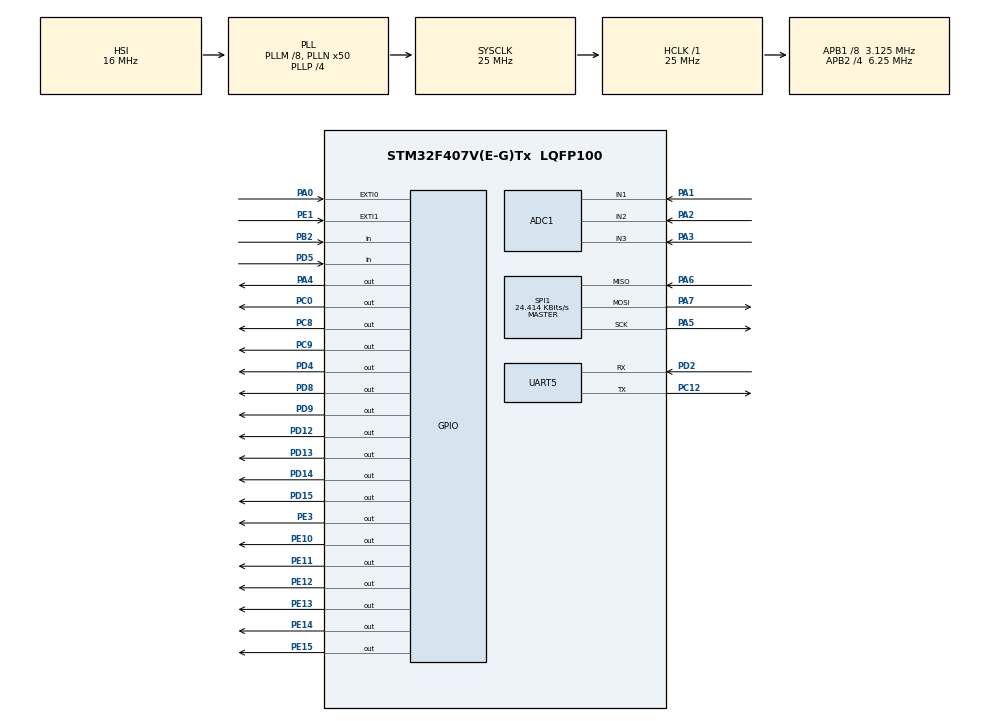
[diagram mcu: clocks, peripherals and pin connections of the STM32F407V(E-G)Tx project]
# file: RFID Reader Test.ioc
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ADC1.Channel-0\#ChannelRegularConversion=ADC_CHANNEL_1
ADC1.EOCSelection=ADC_EOC_SINGLE_CONV
ADC1.NbrOfConversion=1
ADC1.NbrOfConversionFlag=1
ADC1.Rank-0\#ChannelRegularConversion=1
ADC1.SamplingTime-0\#ChannelRegularConversion=ADC_SAMPLETIME_480CYCLES
ADC1.master=1
Mcu.Family=STM32F4
Mcu.Name=STM32F407V(E-G)Tx
Mcu.Package=LQFP100
NVIC.PriorityGroup=NVIC_PRIORITYGROUP_0
NVIC.TIM3_IRQn=true\:0\:0\:false\:false\:true\:true
PA0-WKUP.GPIO_ModeDefaultEXTI=GPIO_MODE_IT_RISING
PA0-WKUP.GPIO_PuPd=GPIO_NOPULL
PA0-WKUP.Signal=GPXTI0
PA1.Signal=ADCx_IN1
PA10.GPIO_Mode=GPIO_MODE_AF_PP
PA10.GPIO_PuPd=GPIO_NOPULL
PA10.GPIO_Speed=GPIO_SPEED_FREQ_VERY_HIGH
PA10.Signal=USB_OTG_FS_ID
PA11.GPIO_Mode=GPIO_MODE_AF_PP
PA11.GPIO_PuPd=GPIO_NOPULL
PA11.GPIO_Speed=GPIO_SPEED_FREQ_VERY_HIGH
PA11.Signal=USB_OTG_FS_DM
PA12.GPIO_Mode=GPIO_MODE_AF_PP
PA12.GPIO_PuPd=GPIO_NOPULL
PA12.GPIO_Speed=GPIO_SPEED_FREQ_VERY_HIGH
PA12.Signal=USB_OTG_FS_DP
PA13.Signal=SYS_JTMS-SWDIO
PA14.Signal=SYS_JTCK-SWCLK
PA2.Signal=ADCx_IN2
PA3.Signal=ADCx_IN3
PA4.GPIO_Speed=GPIO_SPEED_FREQ_HIGH
PA4.Signal=GPIO_Output
PA5.GPIO_Mode=GPIO_MODE_AF_PP
PA5.GPIO_PuPd=GPIO_NOPULL
PA5.GPIO_Speed=GPIO_SPEED_FREQ_HIGH
PA5.Mode=Full_Duplex_Master
PA5.Signal=SPI1_SCK
PA6.GPIO_Mode=GPIO_MODE_AF_PP
PA6.GPIO_PuPd=GPIO_NOPULL
PA6.GPIO_Speed=GPIO_SPEED_FREQ_HIGH
PA6.Mode=Full_Duplex_Master
PA6.Signal=SPI1_MISO
PA7.GPIO_Mode=GPIO_MODE_AF_PP
PA7.GPIO_PuPd=GPIO_NOPULL
PA7.GPIO_Speed=GPIO_SPEED_FREQ_HIGH
PA7.Mode=Full_Duplex_Master
PA7.Signal=SPI1_MOSI
PA9.GPIO_Mode=GPIO_MODE_INPUT
PA9.GPIO_PuPd=GPIO_NOPULL
PA9.Signal=USB_OTG_FS_VBUS
PB10.GPIO_Mode=GPIO_MODE_AF_PP
PB10.GPIO_PuPd=GPIO_NOPULL
PB10.GPIO_Speed=GPIO_SPEED_FREQ_LOW
PB10.Signal=I2S2_CK
PB2.GPIO_Mode=GPIO_MODE_INPUT
PB2.GPIO_PuPd=GPIO_NOPULL
PB2.Signal=GPIO_Input
PB3.Signal=SYS_JTDO-SWO
PC0.GPIO_ModeDefaultOutputPP=GPIO_MODE_OUTPUT_PP
PC0.GPIO_PuPd=GPIO_NOPULL
PC0.GPIO_Speed=GPIO_SPEED_FREQ_LOW
PC0.PinState=GPIO_PIN_RESET
PC0.Signal=GPIO_Output
PC10.GPIO_Mode=GPIO_MODE_AF_PP
PC10.GPIO_PuPd=GPIO_NOPULL
PC10.GPIO_Speed=GPIO_SPEED_FREQ_LOW
PC10.Signal=I2S3_CK
PC12.Mode=Asynchronous
PC12.Signal=UART5_TX
PC14-OSC32_IN.Signal=RCC_OSC32_IN
PC15-OSC32_OUT.Signal=RCC_OSC32_OUT
PC3.GPIO_Mode=GPIO_MODE_AF_PP
PC3.GPIO_PuPd=GPIO_NOPULL
PC3.GPIO_Speed=GPIO_SPEED_FREQ_LOW
PC3.Signal=I2S2_SD
PC7.GPIO_Mode=GPIO_MODE_AF_PP
PC7.GPIO_PuPd=GPIO_NOPULL
PC7.GPIO_Speed=GPIO_SPEED_FREQ_LOW
PC7.Signal=I2S3_MCK
PC8.GPIO_Speed=GPIO_SPEED_FREQ_VERY_HIGH
PC8.Signal=GPIO_Output
PC9.GPIO_Speed=GPIO_SPEED_FREQ_VERY_HIGH
PC9.Signal=GPIO_Output
PD12.Signal=GPIO_Output
PD13.GPIO_ModeDefaultOutputPP=GPIO_MODE_OUTPUT_PP
PD13.GPIO_PuPd=GPIO_NOPULL
PD13.GPIO_Speed=GPIO_SPEED_FREQ_LOW
PD13.PinState=GPIO_PIN_RESET
PD13.Signal=GPIO_Output
PD14.GPIO_ModeDefaultOutputPP=GPIO_MODE_OUTPUT_PP
PD14.GPIO_PuPd=GPIO_NOPULL
PD14.GPIO_Speed=GPIO_SPEED_FREQ_LOW
PD14.PinState=GPIO_PIN_RESET
PD14.Signal=GPIO_Output
PD15.GPIO_ModeDefaultOutputPP=GPIO_MODE_OUTPUT_PP
PD15.GPIO_PuPd=GPIO_NOPULL
PD15.GPIO_Speed=GPIO_SPEED_FREQ_LOW
PD15.PinState=GPIO_PIN_RESET
PD15.Signal=GPIO_Output
PD2.Mode=Asynchronous
PD2.Signal=UART5_RX
PD4.GPIO_ModeDefaultOutputPP=GPIO_MODE_OUTPUT_PP
PD4.GPIO_PuPd=GPIO_NOPULL
PD4.GPIO_Speed=GPIO_SPEED_FREQ_LOW
PD4.PinState=GPIO_PIN_RESET
PD4.Signal=GPIO_Output
PD5.GPIO_Mode=GPIO_MODE_INPUT
PD5.GPIO_PuPd=GPIO_NOPULL
PD5.Signal=GPIO_Input
PD8.Signal=GPIO_Output
PD9.Signal=GPIO_Output
PE1.GPIO_ModeDefaultEXTI=GPIO_MODE_IT_RISING
PE1.GPIO_PuPd=GPIO_NOPULL
PE1.Signal=GPXTI1
PE10.Signal=GPIO_Output
PE11.Signal=GPIO_Output
PE12.Signal=GPIO_Output
PE13.Signal=GPIO_Output
PE14.Signal=GPIO_Output
PE15.Signal=GPIO_Output
PE3.GPIO_ModeDefaultOutputPP=GPIO_MODE_OUTPUT_PP
PE3.GPIO_PuPd=GPIO_NOPULL
PE3.GPIO_Speed=GPIO_SPEED_FREQ_LOW
PE3.PinState=GPIO_PIN_RESET
PE3.Signal=GPIO_Output
PH0-OSC_IN.Signal=RCC_OSC_IN
PH1-OSC_OUT.Signal=RCC_OSC_OUT
ProjectManager.HeapSize=0x200
ProjectManager.StackSize=0x400
ProjectManager.TargetToolchain=TrueSTUDIO
RCC.48MHZClocksFreq_Value=14285714.285714285
RCC.AHBFreq_Value=25000000
RCC.APB1CLKDivider=RCC_HCLK_DIV8
RCC.APB1Freq_Value=3125000
RCC.APB1TimFreq_Value=6250000
RCC.APB2CLKDivider=RCC_HCLK_DIV4
RCC.APB2Freq_Value=6250000
RCC.APB2TimFreq_Value=12500000
RCC.CortexFreq_Value=25000000
RCC.HCLKFreq_Value=25000000
RCC.HSE_VALUE=8000000
RCC.HSI_VALUE=16000000
RCC.LSE_VALUE=32768
RCC.PLLM=8
RCC.PLLN=50
RCC.PLLP=RCC_PLLP_DIV4
RCC.PLLQ=7
RCC.SYSCLKFreq_VALUE=25000000
RCC.SYSCLKSource=RCC_SYSCLKSOURCE_PLLCLK
RCC.VCOOutputFreq_Value=100000000
SH.ADCx_IN1.0=ADC1_IN1,IN1
SH.ADCx_IN2.0=ADC1_IN2,IN2
SH.ADCx_IN3.0=ADC1_IN3,IN3
SPI1.BaudRatePrescaler=SPI_BAUDRATEPRESCALER_256
SPI1.CLKPhase=SPI_PHASE_1EDGE
SPI1.CLKPolarity=SPI_POLARITY_LOW
SPI1.CalculateBaudRate=24.414 KBits/s
SPI1.DataSize=SPI_DATASIZE_8BIT
SPI1.Direction=SPI_DIRECTION_2LINES
SPI1.Mode=SPI_MODE_MASTER
SPI1.VirtualType=VM_MASTER
TIM3.Period=10-1
TIM3.Prescaler=625-1
UART5.VirtualMode=Asynchronous
VP_TIM3_VS_ClockSourceINT.Mode=Internal
board=STM32F4DISCOVERY

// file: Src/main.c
/* USER CODE BEGIN Header */
/**
  ******************************************************************************
  * @file           : main.c
  * @brief          : Main program body
  ******************************************************************************
  ** This notice applies to any and all portions of this file
  * that are not between comment pairs USER CODE BEGIN and
  * USER CODE END. Other portions of this file, whether
  * inserted by the user or by software development tools
  * are owned by their respective copyright owners.
  *
  * COPYRIGHT(c) 2020 STMicroelectronics
  *
  * Redistribution and use in source and binary forms, with or without modification,
  * are permitted provided that the following conditions are met:
  *   1. Redistributions of source code must retain the above copyright notice,
  *      this list of conditions and the following disclaimer.
  *   2. Redistributions in binary form must reproduce the above copyright notice,
  *      this list of conditions and the following disclaimer in the documentation
  *      and/or other materials provided with the distribution.
  *   3. Neither the name of STMicroelectronics nor the names of its contributors
  *      may be used to endorse or promote products derived from this software
  *      without specific prior written permission.
  *
  * THIS SOFTWARE IS PROVIDED BY THE COPYRIGHT HOLDERS AND CONTRIBUTORS "AS IS"
  * AND ANY EXPRESS OR IMPLIED WARRANTIES, INCLUDING, BUT NOT LIMITED TO, THE
  * IMPLIED WARRANTIES OF MERCHANTABILITY AND FITNESS FOR A PARTICULAR PURPOSE ARE
  * DISCLAIMED. IN NO EVENT SHALL THE COPYRIGHT HOLDER OR CONTRIBUTORS BE LIABLE
  * FOR ANY DIRECT, INDIRECT, INCIDENTAL, SPECIAL, EXEMPLARY, OR CONSEQUENTIAL
  * DAMAGES (INCLUDING, BUT NOT LIMITED TO, PROCUREMENT OF SUBSTITUTE GOODS OR
  * SERVICES; LOSS OF USE, DATA, OR PROFITS; OR BUSINESS INTERRUPTION) HOWEVER
  * CAUSED AND ON ANY THEORY OF LIABILITY, WHETHER IN CONTRACT, STRICT LIABILITY,
  * OR TORT (INCLUDING NEGLIGENCE OR OTHERWISE) ARISING IN ANY WAY OUT OF THE USE
  * OF THIS SOFTWARE, EVEN IF ADVISED OF THE POSSIBILITY OF SUCH DAMAGE.
  *
  ******************************************************************************
  */
/* USER CODE END Header */

#include "main.h"

/* USER CODE BEGIN Includes */
#include "mfrc522.h"
#include "cfah2004.h"
/* USER CODE END Includes */

/* USER CODE BEGIN PD */
#define LED_GREEN	0x0
#define LED_RED 	0x1
#define LED_BLUE 	0x2
#define LED_ORANGE 	0x3
/* USER CODE END PD */

/* USER CODE BEGIN PM */
#define CLR_RS HAL_GPIO_WritePin(GPIOC, GPIO_PIN_8, GPIO_PIN_RESET);
#define SET_RS HAL_GPIO_WritePin(GPIOC, GPIO_PIN_8, GPIO_PIN_SET);
#define CLR_CS HAL_GPIO_WritePin(GPIOC, GPIO_PIN_9, GPIO_PIN_RESET);
#define SET_CS HAL_GPIO_WritePin(GPIOC, GPIO_PIN_9, GPIO_PIN_SET);
/* USER CODE END PM */

ADC_HandleTypeDef hadc1;

SPI_HandleTypeDef hspi1;

TIM_HandleTypeDef htim3;

UART_HandleTypeDef huart5;

void SystemClock_Config(void);
static void MX_GPIO_Init(void);
static void MX_SPI1_Init(void);
static void MX_TIM3_Init(void);
static void MX_ADC1_Init(void);
static void MX_UART5_Init(void);
/* USER CODE BEGIN PFP */
void LED_On(uint8_t);
void LED_Off(uint8_t);
void LED_Toggle(uint8_t);
/* USER CODE END PFP */

/* USER CODE BEGIN 0 */
uint8_t read_val = 0;
HAL_SPI_StateTypeDef curr_state;
uint8_t CardID[5];
int count = 0;
uint8_t flag = 0;
uint8_t prevflag = 1;
uint8_t MSG1[20] = "                    ";
uint8_t no_card[20] = " no card found yet. ";
uint8_t yes_card[20] = " id is 0x0000000000 ";
uint8_t no_board[20] = " this board invalid ";
uint8_t yes_board[20] = "  this board valid  ";
uint8_t board[83] = "00000000000000000000000000000000000000same00000000000000000000000000000000000000000";
int adc_val1 = 0;
int adc_val2 = 0;
int adc_val3 = 0;
char str[20];
char in[3];
uint8_t array[9] = {0};

void flip_switch(uint8_t num){
	reset_array();
	if(num == 1){

		HAL_GPIO_WritePin(GPIOD, GPIO_PIN_8, GPIO_PIN_RESET);
	}
	else if(num == 2){
		HAL_GPIO_WritePin(GPIOE, GPIO_PIN_10, GPIO_PIN_SET);
		HAL_GPIO_WritePin(GPIOD, GPIO_PIN_8, GPIO_PIN_RESET);
	}
	else if(num == 3){
		HAL_GPIO_WritePin(GPIOD, GPIO_PIN_9, GPIO_PIN_RESET);

	}
}

void reset_array(void){
	//selection pins
	HAL_GPIO_WritePin(GPIOE, GPIO_PIN_10, GPIO_PIN_RESET);
	HAL_GPIO_WritePin(GPIOE, GPIO_PIN_11, GPIO_PIN_RESET);
	HAL_GPIO_WritePin(GPIOE, GPIO_PIN_12, GPIO_PIN_RESET);
	HAL_GPIO_WritePin(GPIOE, GPIO_PIN_13, GPIO_PIN_RESET);
	HAL_GPIO_WritePin(GPIOE, GPIO_PIN_14, GPIO_PIN_RESET);
	HAL_GPIO_WritePin(GPIOE, GPIO_PIN_15, GPIO_PIN_RESET);
	//enable pins (active low)
	HAL_GPIO_WritePin(GPIOD, GPIO_PIN_8, GPIO_PIN_SET);
	HAL_GPIO_WritePin(GPIOD, GPIO_PIN_9, GPIO_PIN_SET);
}
/* USER CODE END 0 */

int main(void)
{

  /* MCU Configuration--------------------------------------------------------*/

  /* Reset of all peripherals, Initializes the Flash interface and the Systick. */
  HAL_Init();

  /* Configure the system clock */
  SystemClock_Config();

  /* Initialize all configured peripherals */
  MX_GPIO_Init();
  MX_SPI1_Init();
  MX_TIM3_Init();
  MX_ADC1_Init();
  MX_UART5_Init();
  /* USER CODE BEGIN 2 */
  nss_inactive();
  CLR_RS;
  SET_CS;

  MFRC522_Init();
  Initialize_CFAH2004AP();
  Initialize_CGRAM();

  writeCommand(0x1);

  reset_array();
  /* USER CODE END 2 */

  /* Infinite loop */
  while (1)
  {

    /* USER CODE BEGIN 3 */

	  //Code
	  //for
	  //flipping
	  //the
	  //switches

	  flip_switch(1);
	  HAL_Delay(500);
	  HAL_ADC_Start(&hadc1);
	  if(HAL_ADC_PollForConversion(&hadc1, 1000000) == HAL_OK){
		  adc_val1 = HAL_ADC_GetValue(&hadc1);
		  if(adc_val1 > 2000){
			  array[0] = 0;
		  }
		  else{
			  array[0] = 1;
		  }
	  }
	  HAL_ADC_Stop(&hadc1);

	  flip_switch(2);
	  HAL_Delay(500);
	  HAL_ADC_Start(&hadc1);
	  if(HAL_ADC_PollForConversion(&hadc1, 1000000) == HAL_OK){
		  adc_val2  = HAL_ADC_GetValue(&hadc1);
		  if(adc_val2 > 2000){
			  array[1] = 0;
		  }
		  else{
			  array[1] = 1;
		  }
	  }
	  HAL_ADC_Stop(&hadc1);

	  flip_switch(3);
	  HAL_Delay(500);
	  HAL_ADC_Start(&hadc1);
	  if(HAL_ADC_PollForConversion(&hadc1, 1000000) == HAL_OK){
		  adc_val3 = HAL_ADC_GetValue(&hadc1);
		  if(adc_val3 > 2000){
			  array[2] = 0;
		  }
		  else{
			  array[2] = 1;
		  }
	  }
	  HAL_ADC_Stop(&hadc1);

	  sprintf(str, "       %d %d %d    %d", array[0], array[1], array[2], adc_val1);
	  writeCommand(0x1);
	  HAL_Delay(1);
	  writeString(20, str);

	  sprintf(str, "       %d %d %d    %d", array[3], array[4], array[5], adc_val2);
	  writeCommand(LINE_TWO);
	  writeString(20, str);

	  sprintf(str, "       %d %d %d    %d", array[3], array[4], array[5], adc_val3);
	  writeCommand(LINE_THREE);
	  writeString(20, str);

	  //code
	  //for
	  //testing
	  //ESP
/*
	  writeCommand(0x1);
	  HAL_Delay(1);
	  HAL_UART_Transmit(&huart5, board, 83, 1000);
	  HAL_Delay(100);
	  HAL_UART_Receive(&huart5, (uint8_t *)in, 3, 1000);
	  if(in[0] == '1'){
		  writeString(20, yes_board);
	  }
	  else if(in[0] == '0'){
		  writeString(20, no_board);
	  }
	  else{
		  MSG1[10] = in[0];
		  writeString(20, MSG1);
	  }
	  MSG1[10] = in[0];
	  writeString(20, MSG1);
	  HAL_Delay(10000);
*/

	  //Code
	  //For
	  //Testing
	  //RFID Reader
	  /*
	  MFRC522_Status_t status = MFRC522_Check(CardID);
	  if(status == MI_OK){
		  LED_Off(LED_RED);
		  LED_On(LED_GREEN);
		  flag = 1;
		  hex_to_char_id(CardID, (yes_card + 9));
	  }
	  else{
		  LED_Off(LED_GREEN);
		  LED_On(LED_RED);
		  flag = 0;
	  }
	  LED_On(LED_BLUE);

	  if(!flag){
		  writeCommand(0x1);
		  HAL_Delay(1);
		  writeString(20, MSG1);
		  writeCommand(LINE_TWO);
		  writeString(20, no_card);
	  }
	  else{
		  writeCommand(0x1);
		  HAL_Delay(1);
		  writeString(20, MSG1);
		  writeCommand(LINE_TWO);
		  writeString(20, yes_card);
	  }
	  */

  }
  /* USER CODE END 3 */
}

void SystemClock_Config(void)
{
  RCC_OscInitTypeDef RCC_OscInitStruct = {0};
  RCC_ClkInitTypeDef RCC_ClkInitStruct = {0};

  /**Configure the main internal regulator output voltage
  */
  __HAL_RCC_PWR_CLK_ENABLE();
  __HAL_PWR_VOLTAGESCALING_CONFIG(PWR_REGULATOR_VOLTAGE_SCALE1);
  /**Initializes the CPU, AHB and APB busses clocks
  */
  RCC_OscInitStruct.OscillatorType = RCC_OSCILLATORTYPE_HSI;
  RCC_OscInitStruct.HSIState = RCC_HSI_ON;
  RCC_OscInitStruct.HSICalibrationValue = RCC_HSICALIBRATION_DEFAULT;
  RCC_OscInitStruct.PLL.PLLState = RCC_PLL_ON;
  RCC_OscInitStruct.PLL.PLLSource = RCC_PLLSOURCE_HSI;
  RCC_OscInitStruct.PLL.PLLM = 8;
  RCC_OscInitStruct.PLL.PLLN = 50;
  RCC_OscInitStruct.PLL.PLLP = RCC_PLLP_DIV4;
  RCC_OscInitStruct.PLL.PLLQ = 7;
  if (HAL_RCC_OscConfig(&RCC_OscInitStruct) != HAL_OK)
  {
    Error_Handler();
  }
  /**Initializes the CPU, AHB and APB busses clocks
  */
  RCC_ClkInitStruct.ClockType = RCC_CLOCKTYPE_HCLK|RCC_CLOCKTYPE_SYSCLK
                              |RCC_CLOCKTYPE_PCLK1|RCC_CLOCKTYPE_PCLK2;
  RCC_ClkInitStruct.SYSCLKSource = RCC_SYSCLKSOURCE_PLLCLK;
  RCC_ClkInitStruct.AHBCLKDivider = RCC_SYSCLK_DIV1;
  RCC_ClkInitStruct.APB1CLKDivider = RCC_HCLK_DIV8;
  RCC_ClkInitStruct.APB2CLKDivider = RCC_HCLK_DIV4;

  if (HAL_RCC_ClockConfig(&RCC_ClkInitStruct, FLASH_LATENCY_0) != HAL_OK)
  {
    Error_Handler();
  }
}

static void MX_ADC1_Init(void)
{

  ADC_ChannelConfTypeDef sConfig = {0};

  /**Configure the global features of the ADC (Clock, Resolution, Data Alignment and number of conversion)
  */
  hadc1.Instance = ADC1;
  hadc1.Init.ClockPrescaler = ADC_CLOCK_SYNC_PCLK_DIV2;
  hadc1.Init.Resolution = ADC_RESOLUTION_12B;
  hadc1.Init.ScanConvMode = DISABLE;
  hadc1.Init.ContinuousConvMode = DISABLE;
  hadc1.Init.DiscontinuousConvMode = DISABLE;
  hadc1.Init.ExternalTrigConvEdge = ADC_EXTERNALTRIGCONVEDGE_NONE;
  hadc1.Init.ExternalTrigConv = ADC_SOFTWARE_START;
  hadc1.Init.DataAlign = ADC_DATAALIGN_RIGHT;
  hadc1.Init.NbrOfConversion = 1;
  hadc1.Init.DMAContinuousRequests = DISABLE;
  hadc1.Init.EOCSelection = ADC_EOC_SINGLE_CONV;
  if (HAL_ADC_Init(&hadc1) != HAL_OK)
  {
    Error_Handler();
  }
  /**Configure for the selected ADC regular channel its corresponding rank in the sequencer and its sample time.
  */
  sConfig.Channel = ADC_CHANNEL_1;
  sConfig.Rank = 1;
  sConfig.SamplingTime = ADC_SAMPLETIME_480CYCLES;
  if (HAL_ADC_ConfigChannel(&hadc1, &sConfig) != HAL_OK)
  {
    Error_Handler();
  }

}

static void MX_SPI1_Init(void)
{

  /* SPI1 parameter configuration*/
  hspi1.Instance = SPI1;
  hspi1.Init.Mode = SPI_MODE_MASTER;
  hspi1.Init.Direction = SPI_DIRECTION_2LINES;
  hspi1.Init.DataSize = SPI_DATASIZE_8BIT;
  hspi1.Init.CLKPolarity = SPI_POLARITY_LOW;
  hspi1.Init.CLKPhase = SPI_PHASE_1EDGE;
  hspi1.Init.NSS = SPI_NSS_SOFT;
  hspi1.Init.BaudRatePrescaler = SPI_BAUDRATEPRESCALER_256;
  hspi1.Init.FirstBit = SPI_FIRSTBIT_MSB;
  hspi1.Init.TIMode = SPI_TIMODE_DISABLE;
  hspi1.Init.CRCCalculation = SPI_CRCCALCULATION_DISABLE;
  hspi1.Init.CRCPolynomial = 10;
  if (HAL_SPI_Init(&hspi1) != HAL_OK)
  {
    Error_Handler();
  }

}

static void MX_TIM3_Init(void)
{

  TIM_ClockConfigTypeDef sClockSourceConfig = {0};
  TIM_MasterConfigTypeDef sMasterConfig = {0};

  htim3.Instance = TIM3;
  htim3.Init.Prescaler = 625-1;
  htim3.Init.CounterMode = TIM_COUNTERMODE_UP;
  htim3.Init.Period = 10-1;
  htim3.Init.ClockDivision = TIM_CLOCKDIVISION_DIV1;
  if (HAL_TIM_Base_Init(&htim3) != HAL_OK)
  {
    Error_Handler();
  }
  sClockSourceConfig.ClockSource = TIM_CLOCKSOURCE_INTERNAL;
  if (HAL_TIM_ConfigClockSource(&htim3, &sClockSourceConfig) != HAL_OK)
  {
    Error_Handler();
  }
  sMasterConfig.MasterOutputTrigger = TIM_TRGO_RESET;
  sMasterConfig.MasterSlaveMode = TIM_MASTERSLAVEMODE_DISABLE;
  if (HAL_TIMEx_MasterConfigSynchronization(&htim3, &sMasterConfig) != HAL_OK)
  {
    Error_Handler();
  }

}

static void MX_UART5_Init(void)
{

  huart5.Instance = UART5;
  huart5.Init.BaudRate = 115200;
  huart5.Init.WordLength = UART_WORDLENGTH_8B;
  huart5.Init.StopBits = UART_STOPBITS_1;
  huart5.Init.Parity = UART_PARITY_NONE;
  huart5.Init.Mode = UART_MODE_TX_RX;
  huart5.Init.HwFlowCtl = UART_HWCONTROL_NONE;
  huart5.Init.OverSampling = UART_OVERSAMPLING_16;
  if (HAL_UART_Init(&huart5) != HAL_OK)
  {
    Error_Handler();
  }

}

static void MX_GPIO_Init(void)
{
  GPIO_InitTypeDef GPIO_InitStruct = {0};

  /* GPIO Ports Clock Enable */
  __HAL_RCC_GPIOE_CLK_ENABLE();
  __HAL_RCC_GPIOC_CLK_ENABLE();
  __HAL_RCC_GPIOH_CLK_ENABLE();
  __HAL_RCC_GPIOA_CLK_ENABLE();
  __HAL_RCC_GPIOB_CLK_ENABLE();
  __HAL_RCC_GPIOD_CLK_ENABLE();

  /*Configure GPIO pin Output Level */
  HAL_GPIO_WritePin(GPIOE, GPIO_PIN_3|GPIO_PIN_10|GPIO_PIN_11|GPIO_PIN_12
                          |GPIO_PIN_13|GPIO_PIN_14|GPIO_PIN_15, GPIO_PIN_RESET);

  /*Configure GPIO pin Output Level */
  HAL_GPIO_WritePin(GPIOC, GPIO_PIN_0|GPIO_PIN_8|GPIO_PIN_9, GPIO_PIN_RESET);

  /*Configure GPIO pin Output Level */
  HAL_GPIO_WritePin(GPIOA, GPIO_PIN_4, GPIO_PIN_RESET);

  /*Configure GPIO pin Output Level */
  HAL_GPIO_WritePin(GPIOD, GPIO_PIN_8|GPIO_PIN_9|GPIO_PIN_12|GPIO_PIN_13
                          |GPIO_PIN_14|GPIO_PIN_15|GPIO_PIN_4, GPIO_PIN_RESET);

  /*Configure GPIO pins : PE3 PE10 PE11 PE12
                           PE13 PE14 PE15 */
  GPIO_InitStruct.Pin = GPIO_PIN_3|GPIO_PIN_10|GPIO_PIN_11|GPIO_PIN_12
                          |GPIO_PIN_13|GPIO_PIN_14|GPIO_PIN_15;
  GPIO_InitStruct.Mode = GPIO_MODE_OUTPUT_PP;
  GPIO_InitStruct.Pull = GPIO_NOPULL;
  GPIO_InitStruct.Speed = GPIO_SPEED_FREQ_LOW;
  HAL_GPIO_Init(GPIOE, &GPIO_InitStruct);

  /*Configure GPIO pin : PC0 */
  GPIO_InitStruct.Pin = GPIO_PIN_0;
  GPIO_InitStruct.Mode = GPIO_MODE_OUTPUT_PP;
  GPIO_InitStruct.Pull = GPIO_NOPULL;
  GPIO_InitStruct.Speed = GPIO_SPEED_FREQ_LOW;
  HAL_GPIO_Init(GPIOC, &GPIO_InitStruct);

  /*Configure GPIO pin : PC3 */
  GPIO_InitStruct.Pin = GPIO_PIN_3;
  GPIO_InitStruct.Mode = GPIO_MODE_AF_PP;
  GPIO_InitStruct.Pull = GPIO_NOPULL;
  GPIO_InitStruct.Speed = GPIO_SPEED_FREQ_LOW;
  GPIO_InitStruct.Alternate = GPIO_AF5_SPI2;
  HAL_GPIO_Init(GPIOC, &GPIO_InitStruct);

  /*Configure GPIO pin : PA0 */
  GPIO_InitStruct.Pin = GPIO_PIN_0;
  GPIO_InitStruct.Mode = GPIO_MODE_IT_RISING;
  GPIO_InitStruct.Pull = GPIO_NOPULL;
  HAL_GPIO_Init(GPIOA, &GPIO_InitStruct);

  /*Configure GPIO pin : PA4 */
  GPIO_InitStruct.Pin = GPIO_PIN_4;
  GPIO_InitStruct.Mode = GPIO_MODE_OUTPUT_PP;
  GPIO_InitStruct.Pull = GPIO_NOPULL;
  GPIO_InitStruct.Speed = GPIO_SPEED_FREQ_HIGH;
  HAL_GPIO_Init(GPIOA, &GPIO_InitStruct);

  /*Configure GPIO pin : PB2 */
  GPIO_InitStruct.Pin = GPIO_PIN_2;
  GPIO_InitStruct.Mode = GPIO_MODE_INPUT;
  GPIO_InitStruct.Pull = GPIO_NOPULL;
  HAL_GPIO_Init(GPIOB, &GPIO_InitStruct);

  /*Configure GPIO pin : PB10 */
  GPIO_InitStruct.Pin = GPIO_PIN_10;
  GPIO_InitStruct.Mode = GPIO_MODE_AF_PP;
  GPIO_InitStruct.Pull = GPIO_NOPULL;
  GPIO_InitStruct.Speed = GPIO_SPEED_FREQ_LOW;
  GPIO_InitStruct.Alternate = GPIO_AF5_SPI2;
  HAL_GPIO_Init(GPIOB, &GPIO_InitStruct);

  /*Configure GPIO pins : PD8 PD9 PD12 PD13
                           PD14 PD15 PD4 */
  GPIO_InitStruct.Pin = GPIO_PIN_8|GPIO_PIN_9|GPIO_PIN_12|GPIO_PIN_13
                          |GPIO_PIN_14|GPIO_PIN_15|GPIO_PIN_4;
  GPIO_InitStruct.Mode = GPIO_MODE_OUTPUT_PP;
  GPIO_InitStruct.Pull = GPIO_NOPULL;
  GPIO_InitStruct.Speed = GPIO_SPEED_FREQ_LOW;
  HAL_GPIO_Init(GPIOD, &GPIO_InitStruct);

  /*Configure GPIO pins : PC7 PC10 */
  GPIO_InitStruct.Pin = GPIO_PIN_7|GPIO_PIN_10;
  GPIO_InitStruct.Mode = GPIO_MODE_AF_PP;
  GPIO_InitStruct.Pull = GPIO_NOPULL;
  GPIO_InitStruct.Speed = GPIO_SPEED_FREQ_LOW;
  GPIO_InitStruct.Alternate = GPIO_AF6_SPI3;
  HAL_GPIO_Init(GPIOC, &GPIO_InitStruct);

  /*Configure GPIO pins : PC8 PC9 */
  GPIO_InitStruct.Pin = GPIO_PIN_8|GPIO_PIN_9;
  GPIO_InitStruct.Mode = GPIO_MODE_OUTPUT_PP;
  GPIO_InitStruct.Pull = GPIO_NOPULL;
  GPIO_InitStruct.Speed = GPIO_SPEED_FREQ_VERY_HIGH;
  HAL_GPIO_Init(GPIOC, &GPIO_InitStruct);

  /*Configure GPIO pin : PA9 */
  GPIO_InitStruct.Pin = GPIO_PIN_9;
  GPIO_InitStruct.Mode = GPIO_MODE_INPUT;
  GPIO_InitStruct.Pull = GPIO_NOPULL;
  HAL_GPIO_Init(GPIOA, &GPIO_InitStruct);

  /*Configure GPIO pins : PA10 PA11 PA12 */
  GPIO_InitStruct.Pin = GPIO_PIN_10|GPIO_PIN_11|GPIO_PIN_12;
  GPIO_InitStruct.Mode = GPIO_MODE_AF_PP;
  GPIO_InitStruct.Pull = GPIO_NOPULL;
  GPIO_InitStruct.Speed = GPIO_SPEED_FREQ_VERY_HIGH;
  GPIO_InitStruct.Alternate = GPIO_AF10_OTG_FS;
  HAL_GPIO_Init(GPIOA, &GPIO_InitStruct);

  /*Configure GPIO pin : PD5 */
  GPIO_InitStruct.Pin = GPIO_PIN_5;
  GPIO_InitStruct.Mode = GPIO_MODE_INPUT;
  GPIO_InitStruct.Pull = GPIO_NOPULL;
  HAL_GPIO_Init(GPIOD, &GPIO_InitStruct);

  /*Configure GPIO pin : PE1 */
  GPIO_InitStruct.Pin = GPIO_PIN_1;
  GPIO_InitStruct.Mode = GPIO_MODE_IT_RISING;
  GPIO_InitStruct.Pull = GPIO_NOPULL;
  HAL_GPIO_Init(GPIOE, &GPIO_InitStruct);

}

/* USER CODE BEGIN 4 */
void LED_On(uint8_t led){
	switch(led){
		case LED_GREEN: 	HAL_GPIO_WritePin(GPIOD, GPIO_PIN_12, GPIO_PIN_SET);
					break;
		case LED_RED:		HAL_GPIO_WritePin(GPIOD, GPIO_PIN_14, GPIO_PIN_SET);
					break;
		case LED_BLUE:		HAL_GPIO_WritePin(GPIOD, GPIO_PIN_15, GPIO_PIN_SET);
					break;
		case LED_ORANGE:	HAL_GPIO_WritePin(GPIOD, GPIO_PIN_13, GPIO_PIN_SET);
					break;
	}
}

void LED_Off(uint8_t led){
	switch(led){
		case LED_GREEN:		HAL_GPIO_WritePin(GPIOD, GPIO_PIN_12, GPIO_PIN_RESET);
					break;
		case LED_RED:		HAL_GPIO_WritePin(GPIOD, GPIO_PIN_14, GPIO_PIN_RESET);
					break;
		case LED_BLUE:		HAL_GPIO_WritePin(GPIOD, GPIO_PIN_15, GPIO_PIN_RESET);
					break;
		case LED_ORANGE:	HAL_GPIO_WritePin(GPIOD, GPIO_PIN_13, GPIO_PIN_RESET);
					break;
	}
}

void LED_Toggle(uint8_t led){
	switch(led){
		case LED_GREEN:		HAL_GPIO_TogglePin(GPIOD, GPIO_PIN_12);
					break;
		case LED_RED:		HAL_GPIO_TogglePin(GPIOD, GPIO_PIN_14);
					break;
		case LED_BLUE:		HAL_GPIO_TogglePin(GPIOD, GPIO_PIN_15);
					break;
		case LED_ORANGE:	HAL_GPIO_TogglePin(GPIOD, GPIO_PIN_13);
					break;
	}
}

void HAL_TIM_PeriodElapsedCallback(TIM_HandleTypeDef *htim){
	count++;
	if(count > 1000000){
		count = 0;
	}
}

/* USER CODE END 4 */

void Error_Handler(void)
{
  /* USER CODE BEGIN Error_Handler_Debug */
  /* User can add his own implementation to report the HAL error return state */
	LED_Off(LED_GREEN);
	LED_Off(LED_BLUE);
	LED_Off(LED_ORANGE);
	LED_On(LED_RED);
//  BSP_LED_On(LED5);
  while(1)
  {
  }
  /* USER CODE END Error_Handler_Debug */
}

/************************ (C) COPYRIGHT STMicroelectronics *****END OF FILE****/
